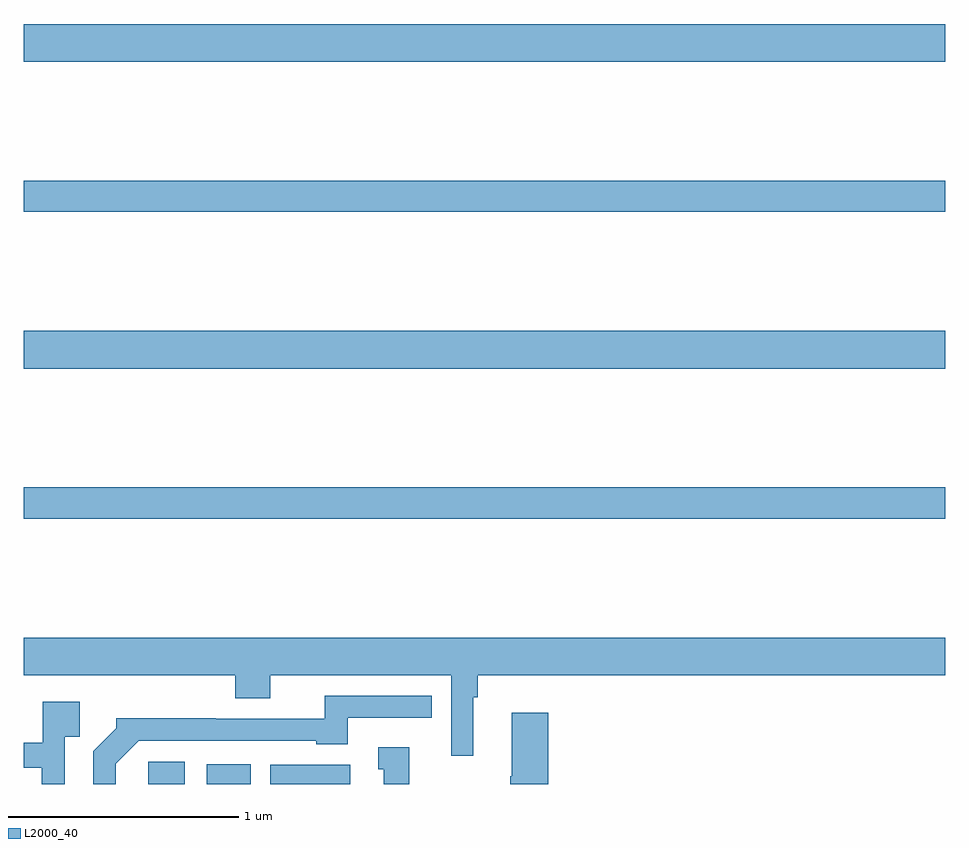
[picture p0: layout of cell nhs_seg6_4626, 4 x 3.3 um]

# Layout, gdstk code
import gdstk
lib = gdstk.Library(unit=1e-6, precision=1e-09)
def R(c, l, rs):  # rectangles x0, y0, x1, y1
    for r in rs: c.add(gdstk.rectangle(r[:2], r[2:], *l))
def P(c, l, *ps):  # polygons
    for p in ps: c.add(gdstk.Polygon(p, *l))
L2000_40 = (2000, 40)

nhs_seg6_4626 = lib.new_cell('nhs_seg6_4626')
R(nhs_seg6_4626, L2000_40, [(383.54,977.5,383.698,977.596), (383.793,977.5,383.985,977.586), (384.07,977.5,384.418,977.584), (383,978.652,387,978.788), (383,979.304,387,979.468), (383,979.984,387,980.12), (383,980.636,387,980.8)])
P(nhs_seg6_4626, L2000_40, [(384.952,977.876),(384.971,977.876),(384.971,977.972),(387,977.972),(387,978.136),(383,978.136),(383,977.972),(383.918,977.972),(383.918,977.873),(384.07,977.873),(384.07,977.972),(384.855,977.972),(384.855,977.622),(384.952,977.622)],
  [(383.398,977.587),(383.499,977.688),(384.27,977.688),(384.27,977.672),(384.406,977.672),(384.406,977.787),(384.77,977.787),(384.77,977.883),(384.307,977.883),(384.307,977.784),(383.834,977.784),(383.834,977.786),(383.4,977.786),(383.4,977.741),(383.301,977.642),(383.301,977.5),(383.398,977.5)],
  [(383.178,977.705),(383.243,977.705),(383.243,977.857),(383.082,977.857),(383.082,977.679),(383,977.679),(383,977.571),(383.077,977.571),(383.077,977.5),(383.178,977.5)],
  [(385.277,977.809),(385.118,977.809),(385.118,977.533),(385.111,977.533),(385.111,977.5),(385.277,977.5)],
  [(384.673,977.659),(384.539,977.659),(384.539,977.565),(384.563,977.565),(384.563,977.5),(384.673,977.5)])

lib.write_gds('nhs_seg6_4626.gds')
